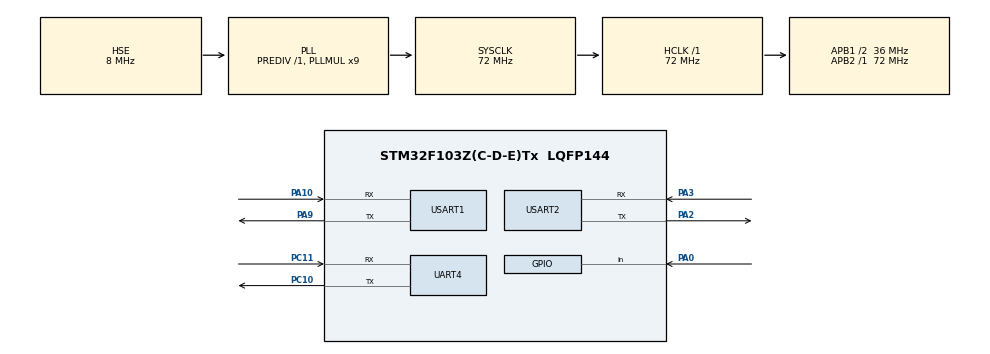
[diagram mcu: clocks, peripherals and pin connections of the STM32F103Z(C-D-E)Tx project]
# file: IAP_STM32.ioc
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Mcu.Family=STM32F1
Mcu.Name=STM32F103Z(C-D-E)Tx
Mcu.Package=LQFP144
NVIC.PriorityGroup=NVIC_PRIORITYGROUP_4
NVIC.UART4_IRQn=true\:0\:0\:false\:false\:true
NVIC.USART1_IRQn=true\:0\:0\:false\:false\:true
NVIC.USART2_IRQn=true\:0\:0\:false\:false\:true
OSC_IN.Mode=HSE-External-Oscillator
OSC_IN.Signal=RCC_OSC_IN
OSC_OUT.Mode=HSE-External-Oscillator
OSC_OUT.Signal=RCC_OSC_OUT
PA0-WKUP.Signal=GPIO_Input
PA10.Mode=Asynchronous
PA10.Signal=USART1_RX
PA2.Mode=Asynchronous
PA2.Signal=USART2_TX
PA3.Mode=Asynchronous
PA3.Signal=USART2_RX
PA9.Mode=Asynchronous
PA9.Signal=USART1_TX
PC10.Mode=Asynchronous
PC10.Signal=UART4_TX
PC11.Mode=Asynchronous
PC11.Signal=UART4_RX
ProjectManager.HeapSize=0x200
ProjectManager.StackSize=0x400
ProjectManager.TargetToolchain=MDK-ARM V5
RCC.AHBFreq_Value=72000000
RCC.APB1CLKDivider=RCC_HCLK_DIV2
RCC.APB1Freq_Value=36000000
RCC.APB1TimFreq_Value=72000000
RCC.APB2Freq_Value=72000000
RCC.APB2TimFreq_Value=72000000
RCC.HCLKFreq_Value=72000000
RCC.HSIState=RCC_HSI_ON
RCC.PLLMUL=RCC_PLL_MUL9
RCC.PLLSourceVirtual=RCC_PLLSOURCE_HSE
RCC.SYSCLKFreq_VALUE=72000000
RCC.SYSCLKSource=RCC_SYSCLKSOURCE_PLLCLK
RCC.USBFreq_Value=72000000
board=IAP_STM32

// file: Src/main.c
/**
  ******************************************************************************
  * File Name          : main.c
  * Description        : Main program body
  ******************************************************************************
  *
  * COPYRIGHT(c) 2018 STMicroelectronics
  *
  * Redistribution and use in source and binary forms, with or without modification,
  * are permitted provided that the following conditions are met:
  *   1. Redistributions of source code must retain the above copyright notice,
  *      this list of conditions and the following disclaimer.
  *   2. Redistributions in binary form must reproduce the above copyright notice,
  *      this list of conditions and the following disclaimer in the documentation
  *      and/or other materials provided with the distribution.
  *   3. Neither the name of STMicroelectronics nor the names of its contributors
  *      may be used to endorse or promote products derived from this software
  *      without specific prior written permission.
  *
  * THIS SOFTWARE IS PROVIDED BY THE COPYRIGHT HOLDERS AND CONTRIBUTORS "AS IS"
  * AND ANY EXPRESS OR IMPLIED WARRANTIES, INCLUDING, BUT NOT LIMITED TO, THE
  * IMPLIED WARRANTIES OF MERCHANTABILITY AND FITNESS FOR A PARTICULAR PURPOSE ARE
  * DISCLAIMED. IN NO EVENT SHALL THE COPYRIGHT HOLDER OR CONTRIBUTORS BE LIABLE
  * FOR ANY DIRECT, INDIRECT, INCIDENTAL, SPECIAL, EXEMPLARY, OR CONSEQUENTIAL
  * DAMAGES (INCLUDING, BUT NOT LIMITED TO, PROCUREMENT OF SUBSTITUTE GOODS OR
  * SERVICES; LOSS OF USE, DATA, OR PROFITS; OR BUSINESS INTERRUPTION) HOWEVER
  * CAUSED AND ON ANY THEORY OF LIABILITY, WHETHER IN CONTRACT, STRICT LIABILITY,
  * OR TORT (INCLUDING NEGLIGENCE OR OTHERWISE) ARISING IN ANY WAY OUT OF THE USE
  * OF THIS SOFTWARE, EVEN IF ADVISED OF THE POSSIBILITY OF SUCH DAMAGE.
  *
  ******************************************************************************
  */
#include "stm32f1xx_hal.h"

/* USER CODE BEGIN Includes */
#include "main.h"
#include "menu.h"
/* USER CODE END Includes */

UART_HandleTypeDef UartHandle1;
UART_HandleTypeDef UartHandle;
UART_HandleTypeDef huart2;

/* USER CODE BEGIN PV */
/* Private variables ---------------------------------------------------------*/
extern pFunction JumpToApplication;
extern uint32_t JumpAddress;
UART_4 uart4;
uint8_t cnt;
/* USER CODE END PV */

void SystemClock_Config(void);
static void MX_GPIO_Init(void);
static void MX_UART4_Init(void);
static void MX_USART2_UART_Init(void);
static void MX_USART1_UART_Init(void);

/* USER CODE BEGIN PFP */
/* Private function prototypes -----------------------------------------------*/
void HAL_UART_RxCpltCallback(UART_HandleTypeDef *huart);
/* USER CODE END PFP */

/* USER CODE BEGIN 0 */
void HAL_UART_RxCpltCallback(UART_HandleTypeDef *huart)
{
		if(huart->Instance==UartHandle.Instance)
		{
				if (uart4.Rx_indx==0)
				{
						for (uint8_t i=0;i<100;i++) uart4.Rx_Buffer[i]=0;                                        //clear Rx_Buffer before receiving new data
				}

				if (uart4.Rx_data[0]!='\n')                                                                  //if received data different from ascii 13 (enter)
				{
						uart4.Rx_Buffer[uart4.Rx_indx++]=uart4.Rx_data[0];                            //add data to Rx_Buffer
				}
				else                                                                                             //if received data = 13
				{
						uart4.Rx_indx=0;
						HAL_UART_Transmit_IT(&UartHandle,(uint8_t *)uart4.Rx_Buffer,sizeof(uart4.Rx_Buffer));
				}
				HAL_UART_Receive_IT(&UartHandle,(uint8_t *)uart4.Rx_data, 1);
		}

		if(huart->Instance==UartHandle1.Instance)
		{
				if (uart4.Rx_indx==0)
				{
						for (uint8_t i=0;i<100;i++) uart4.Rx_Buffer[i]=0;                                        //clear Rx_Buffer before receiving new data
				}

				if (uart4.Rx_data[0]!='\n')                                                                  //if received data different from ascii 13 (enter)
				{
						uart4.Rx_Buffer[uart4.Rx_indx++]=uart4.Rx_data[0];                            //add data to Rx_Buffer
				}
				else                                                                                             //if received data = 13
				{
						uart4.Rx_indx=0;
						HAL_UART_Transmit_IT(&UartHandle1,(uint8_t *)uart4.Rx_Buffer,sizeof(uart4.Rx_Buffer));
				}
				HAL_UART_Receive_IT(&UartHandle1,(uint8_t *)uart4.Rx_data, 1);
		}
}
/* USER CODE END 0 */

int main(void)
{

  /* MCU Configuration----------------------------------------------------------*/

  /* Reset of all peripherals, Initializes the Flash interface and the Systick. */
  HAL_Init();

  /* Configure the system clock */
  SystemClock_Config();

  /* Initialize all configured peripherals */
  MX_GPIO_Init();
  MX_UART4_Init();
  MX_USART2_UART_Init();
  MX_USART1_UART_Init();

  /* USER CODE BEGIN 2 */
	__HAL_UART_ENABLE_IT(&UartHandle,UART_IT_RXNE);
	__HAL_UART_ENABLE_IT(&UartHandle,UART_IT_TC);
	__HAL_UART_ENABLE_IT(&UartHandle1,UART_IT_RXNE);
	__HAL_UART_ENABLE_IT(&UartHandle1,UART_IT_TC);

	HAL_UART_Receive_IT(&UartHandle,(uint8_t *)uart4.Rx_data, 1);
	HAL_UART_Transmit_IT(&UartHandle,(uint8_t *)uart4.Rx_Buffer,sizeof(uart4.Rx_Buffer));
	HAL_UART_Receive_IT(&UartHandle1,(uint8_t *)uart4.Rx_data, 1);
	HAL_UART_Transmit_IT(&UartHandle1,(uint8_t *)uart4.Rx_Buffer,sizeof(uart4.Rx_Buffer));

//	if(uart4.Rx_Buffer[0]=='7')
//	{
//			cnt++;
//			for (uint8_t i=0;i<100;i++) uart4.Rx_Buffer[i]=0;
//	}
//	if(cnt==1)
//	{
//			cnt--;
			FLASH_If_Init();
			Main_Menu ();
//	}
//	else if(uart4.Rx_Buffer[0]=='8')
//	{
//			if (((*(__IO uint32_t*)APPLICATION_ADDRESS) & 0x2FFE0000 ) == 0x20000000)
//			{
//				/* Jump to user application */
//				JumpAddress = *(__IO uint32_t*) (APPLICATION_ADDRESS + 4);
//				JumpToApplication = (pFunction) JumpAddress;
//				/* Initialize user application's Stack Pointer */
//				__set_MSP(*(__IO uint32_t*) APPLICATION_ADDRESS);
//				JumpToApplication();
//			}
////	}
  /* USER CODE END 2 */

  /* Infinite loop */
  /* USER CODE BEGIN WHILE */
  while (1)
  {
//			if(uart4.Rx_Buffer[0]=='7')
//			{
//					cnt++;
//					for (uint8_t i=0;i<100;i++) uart4.Rx_Buffer[i]=0;
//			}
//			if(cnt==1)
//			{
//					cnt--;
//					FLASH_If_Init();
//					Main_Menu ();
//			}
//			else if(uart4.Rx_Buffer[0]=='8')
//			{
//					if (((*(__IO uint32_t*)APPLICATION_ADDRESS) & 0x2FFE0000 ) == 0x20000000)
//					{
//						/* Jump to user application */
//						JumpAddress = *(__IO uint32_t*) (APPLICATION_ADDRESS + 4);
//						JumpToApplication = (pFunction) JumpAddress;
//						/* Initialize user application's Stack Pointer */
//						__set_MSP(*(__IO uint32_t*) APPLICATION_ADDRESS);
//						JumpToApplication();
//					}
//			}
  /* USER CODE END WHILE */

  }

}

/** System Clock Configuration
*/
void SystemClock_Config(void)
{

  RCC_OscInitTypeDef RCC_OscInitStruct;
  RCC_ClkInitTypeDef RCC_ClkInitStruct;

  RCC_OscInitStruct.OscillatorType = RCC_OSCILLATORTYPE_HSE;
  RCC_OscInitStruct.HSEState = RCC_HSE_ON;
  RCC_OscInitStruct.HSEPredivValue = RCC_HSE_PREDIV_DIV1;
  RCC_OscInitStruct.PLL.PLLState = RCC_PLL_ON;
  RCC_OscInitStruct.PLL.PLLSource = RCC_PLLSOURCE_HSE;
  RCC_OscInitStruct.PLL.PLLMUL = RCC_PLL_MUL9;
  HAL_RCC_OscConfig(&RCC_OscInitStruct);

  RCC_ClkInitStruct.ClockType = RCC_CLOCKTYPE_HCLK|RCC_CLOCKTYPE_SYSCLK
                              |RCC_CLOCKTYPE_PCLK1|RCC_CLOCKTYPE_PCLK2;
  RCC_ClkInitStruct.SYSCLKSource = RCC_SYSCLKSOURCE_PLLCLK;
  RCC_ClkInitStruct.AHBCLKDivider = RCC_SYSCLK_DIV1;
  RCC_ClkInitStruct.APB1CLKDivider = RCC_HCLK_DIV2;
  RCC_ClkInitStruct.APB2CLKDivider = RCC_HCLK_DIV1;
  HAL_RCC_ClockConfig(&RCC_ClkInitStruct, FLASH_LATENCY_2);

  HAL_SYSTICK_Config(HAL_RCC_GetHCLKFreq()/1000);

  HAL_SYSTICK_CLKSourceConfig(SYSTICK_CLKSOURCE_HCLK);

  /* SysTick_IRQn interrupt configuration */
  HAL_NVIC_SetPriority(SysTick_IRQn, 0, 0);
}

/* UART4 init function */
void MX_UART4_Init(void)
{

  UartHandle1.Instance = UART4;
  UartHandle1.Init.BaudRate = 115200;
  UartHandle1.Init.WordLength = UART_WORDLENGTH_8B;
  UartHandle1.Init.StopBits = UART_STOPBITS_1;
  UartHandle1.Init.Parity = UART_PARITY_NONE;
  UartHandle1.Init.Mode = UART_MODE_TX_RX;
  UartHandle1.Init.HwFlowCtl = UART_HWCONTROL_NONE;
  UartHandle1.Init.OverSampling = UART_OVERSAMPLING_16;
  HAL_UART_Init(&UartHandle1);

}

/* USART1 init function */
void MX_USART1_UART_Init(void)
{

  UartHandle.Instance = USART1;
  UartHandle.Init.BaudRate = 115200;
  UartHandle.Init.WordLength = UART_WORDLENGTH_8B;
  UartHandle.Init.StopBits = UART_STOPBITS_1;
  UartHandle.Init.Parity = UART_PARITY_NONE;
  UartHandle.Init.Mode = UART_MODE_TX_RX;
  UartHandle.Init.HwFlowCtl = UART_HWCONTROL_NONE;
  UartHandle.Init.OverSampling = UART_OVERSAMPLING_16;
  HAL_UART_Init(&UartHandle);

}

/* USART2 init function */
void MX_USART2_UART_Init(void)
{

  huart2.Instance = USART2;
  huart2.Init.BaudRate = 115200;
  huart2.Init.WordLength = UART_WORDLENGTH_8B;
  huart2.Init.StopBits = UART_STOPBITS_1;
  huart2.Init.Parity = UART_PARITY_NONE;
  huart2.Init.Mode = UART_MODE_TX_RX;
  huart2.Init.HwFlowCtl = UART_HWCONTROL_NONE;
  huart2.Init.OverSampling = UART_OVERSAMPLING_16;
  HAL_UART_Init(&huart2);

}

/** Configure pins as
        * Analog
        * Input
        * Output
        * EVENT_OUT
        * EXTI
*/
void MX_GPIO_Init(void)
{

  GPIO_InitTypeDef GPIO_InitStruct;

  /* GPIO Ports Clock Enable */
  __HAL_RCC_GPIOA_CLK_ENABLE();
  __HAL_RCC_GPIOC_CLK_ENABLE();

  /*Configure GPIO pin : PA0 */
  GPIO_InitStruct.Pin = GPIO_PIN_0;
  GPIO_InitStruct.Mode = GPIO_MODE_INPUT;
  GPIO_InitStruct.Pull = GPIO_NOPULL;
  HAL_GPIO_Init(GPIOA, &GPIO_InitStruct);

}

/************************ (C) COPYRIGHT STMicroelectronics *****END OF FILE****/
